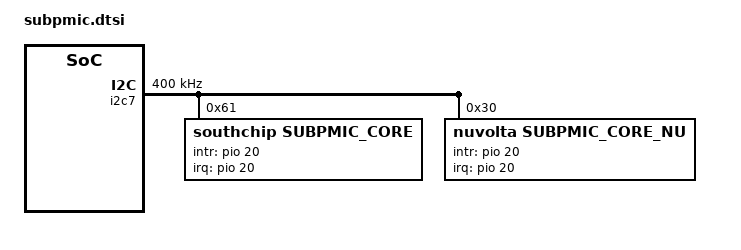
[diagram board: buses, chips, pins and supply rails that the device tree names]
#include "subpmic_irq.h"

&i2c7 {
	status = "okay";
	clock-frequency = <400000>;

	subpmic_core@61 {
		compatible = "southchip,subpmic_core";
		reg = <0x61>;
		status = "okay";
		interrupt-parent = <&pio>;
		interrupts = <20 0>;
		intr-gpio = <&pio 20 0>;
		charger_name = "primary_chg";
		/*phys = <&u2port0 PHY_TYPE_USB2>;
		phy-names = "usb2-phy";
		usb = <&usb>;*/
		interrupt-controller;
		#interrupt-cells = <1>;
		subpmic_chg {
			compatible = "southchip,subpmic_chg";
			interrupts = <SUBPMIC_IRQ_HK>, <SUBPMIC_IRQ_CHARGER>,
							<SUBPMIC_IRQ_DPDM>, <SUBPMIC_IRQ_LED>;
			interrupt-names = "Hourse Keeping", "Buck Charger",
								"DPDM", "LED";
			sc,vsys-limit = <3500>;
			sc,batsnc-enable = <1>;
			sc,vbat = <4450>;
			sc,charge-curr = <500>;
			sc,iindpm-disable = <0>;
			sc,input-curr-limit = <500>;
			sc,ico-enable = <0>;
			sc,iindpm-ico = <100>;
			sc,precharge-volt = <1>;      /* 0:2900mv, 1:3000, 2:3100, 3:3200 */
			sc,precharge-curr = <500>;
			sc,term-en = <1>;
			sc,term-curr = <500>;     /* ma */
			sc,rechg-dis = <0>;
			sc,rechg-dg = <0>;    /* 0:64ms , 1:256ms , 2:1024ms , 3:2048ms */
			sc,rechg-volt = <0>;  /* 0:100mv , 1:200mv , 2:300mv , 3:400mv */
			sc,boost-voltage = <5000>;
			sc,boost-max-current = <1500>;
			sc,conv-ocp-dis = <0>;
			sc,tsbat-jeita-dis = <1>;
			sc,ibat-ocp-dis = <0>;
			sc,vpmid-ovp-otg-dis = <0>;
			sc,vbat-ovp-buck-dis = <0>;
			sc,ibat-ocp = <1>;    /* 0:12A , 1:16A */
			status = "okay";
		};
		subpmic_ufcs {
			compatible = "southchip,subpmic_ufcs";
			interrupts = <SUBPMIC_IRQ_UFCS>;
			interrupt-names = "UFCS";

			subpmic_ufcs,name = "ufcs_port2";
			subpmic_ufcs,default-baudrate = <0>; /*0: 115200, 1: 57600
												2: 38400, 3: 19200*/
			subpmic_ufcs,default-request-volt = <6000>; /*mV*/
			subpmic_ufcs,default-request-curr = <2000>; /*mA*/
		};
		subpmic_cid {
			compatible = "southchip,subpmic_cid";
			interrupts = <SUBPMIC_IRQ_CID>;
			interrupt-names = "CID";
                        status = "okay";
		};
	};

	subpmic_core_nu@30 {
		compatible = "nuvolta,subpmic_core_nu";
		reg = <0x30>;
		status = "okay";
		interrupt-parent = <&pio>;
		interrupts = <20 0>;
		intr-gpio = <&pio 20 0>;
		charger_name = "primary_chg";
		/*phys = <&u2port0 PHY_TYPE_USB2>;
		phy-names = "usb2-phy";
		usb = <&usb>;*/
		interrupt-controller;
		#interrupt-cells = <1>;

	subpmic_chg: chg {
	#io-channel-cells = <1>;
				 status = "okay";
				 compatible = "nuvolta,nu6601_charger";

				 interrupts = <USB_DET_DONE>, <VBUS_0V>, <VBUS_GD>, <CHG_FSM>,
							<CHG_OK>, <BC12_DET_DONE>, <DM_COT_PLUSE_DONE>, <DP_COT_PLUSE_DONE>,
							<DPDM_2PLUSE_DONE>, <DPDM_3PLUSE_DONE>, <DM_16PLUSE_DONE>, <DP_16PLUSE_DONE>,
							<HVDCP_DET_FAIL>, <HVDCP_DET_OK>, <BOOST_FAIL>, <BOOST_GOOD>, <LED1_TIMEOUT>, 
							<LED2_TIMEOUT>, <VBAT_OV> ,<DCD_TIMEOUT>, <RID_CID_DET>;
				 interrupt-names = "usb_det_done", "vbus_0v", "vbus_gd", "chg_fsm",
					 "chg_ok", "bc1p2_det_done", "dm_cot_pluse_done", "dp_cot_pluse_done",
					 "dpdm_2pluse_done", "dpdm_3pluse_done", "dm_16pluse_done", "dp_16pluse_done",
					 "hvdcp_det_fail", "hvdcp_det_ok", "boost_fail", "boost_gd", "led1_timeout", "led2_timeout", 
					 "vbat_ov" ,"dcd_timeout", "rid_cid_det";

				 /* charger default */
				 charger,enable-termination = <1>;
				 charger,enable-ico = <0>;
				 charger,batsns-en = <1>;
				 charger,otg-vol = <5000>; /* mV */
				 charger,otg-current = <1500>; /* mA */
				 charger,charge-voltage = <4400>; /* mV */
				 charger,charge-current = <3000>; /* mA */
				 charger,precharge-current = <250>; /* mA */
				 charger,term-current = <200>; /* mA */
				 charger,input-curr-limit = <3000>; /* mA */
				 charger,iindpm-disable = <0>; /* 0 enable 1 disable*/
				 charger,rechg-dis = <0>; /* 0 enable 1 disable*/
				 charger,rechg-volt = <0>;  /* 0:100mv , 1:200mv*/
				 charger,cid-en = <1>; /* 0 disable, 1 enable */

				 /* fled default */
				 torch_max_level = <36>;  /* 500 mA */
				 strobe_max_level = <116>;  /* 50 ~ 500 mA */
				 strobe_timeout = <11>; /* 300ms */
				 strobe_max_timeout = <23>; /* 10 ~ 800 ms */
			 };
		};
};
